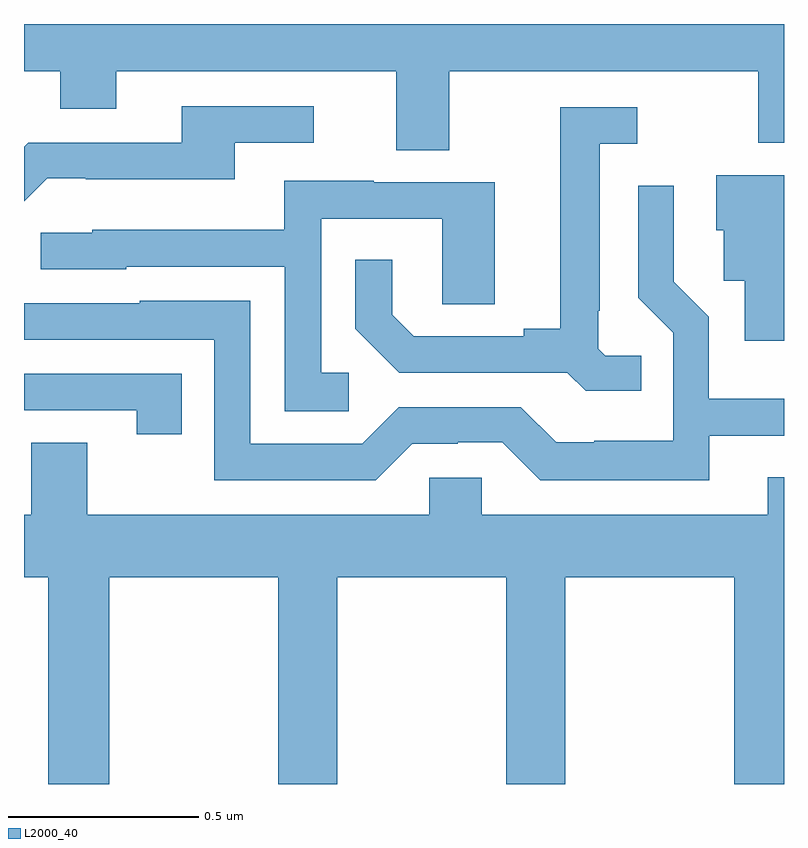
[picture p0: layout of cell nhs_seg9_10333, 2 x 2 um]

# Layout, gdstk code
import gdstk
lib = gdstk.Library(unit=1e-6, precision=1e-09)
def P(c, l, *ps):  # polygons
    for p in ps: c.add(gdstk.Polygon(p, *l))
L2000_40 = (2000, 40)

nhs_seg9_10333 = lib.new_cell('nhs_seg9_10333')
P(nhs_seg9_10333, L2000_40, [(242.119,1240.376),(242.932,1240.376),(242.932,1240.187),(243,1240.187),(243,1240.5),(241,1240.5),(241,1240.376),(241.096,1240.376),(241.096,1240.277),(241.243,1240.277),(241.243,1240.376),(241.979,1240.376),(241.979,1240.168),(242.119,1240.168)],
  [(241.061,1240.094),(241.162,1240.094),(241.162,1240.091),(241.555,1240.091),(241.555,1240.188),(241.762,1240.188),(241.762,1240.284),(241.415,1240.284),(241.415,1240.188),(241.011,1240.188),(241,1240.177),(241,1240.033)],
  [(242.624,1239.627),(242.529,1239.627),(242.511,1239.645),(242.511,1239.745),(242.515,1239.745),(242.515,1240.185),(242.614,1240.185),(242.614,1240.281),(242.411,1240.281),(242.411,1239.698),(242.315,1239.698),(242.315,1239.678),(242.026,1239.678),(241.969,1239.735),(241.969,1239.88),(241.872,1239.88),(241.872,1239.698),(241.988,1239.582),(242.43,1239.582),(242.478,1239.535),(242.624,1239.535)],
  [(243,1240.102),(242.822,1240.102),(242.822,1239.957),(242.841,1239.957),(242.841,1239.825),(242.897,1239.825),(242.897,1239.666),(243,1239.666)],
  [(241.855,1239.582),(241.782,1239.582),(241.782,1239.987),(242.1,1239.987),(242.1,1239.763),(242.239,1239.763),(242.239,1240.083),(241.921,1240.083),(241.921,1240.087),(241.685,1240.087),(241.685,1239.958),(241.179,1239.958),(241.179,1239.951),(241.044,1239.951),(241.044,1239.855),(241.269,1239.855),(241.269,1239.861),(241.686,1239.861),(241.686,1239.481),(241.855,1239.481)],
  [(242.803,1239.417),(243,1239.417),(243,1239.514),(242.802,1239.514),(242.802,1239.73),(242.71,1239.822),(242.71,1240.075),(242.616,1240.075),(242.616,1239.78),(242.709,1239.687),(242.709,1239.403),(242.5,1239.403),(242.5,1239.399),(242.4,1239.399),(242.307,1239.492),(241.986,1239.492),(241.89,1239.396),(241.596,1239.396),(241.596,1239.772),(241.305,1239.772),(241.305,1239.765),(241,1239.765),(241,1239.669),(241.5,1239.669),(241.5,1239.3),(241.926,1239.3),(242.022,1239.396),(242.142,1239.396),(242.142,1239.399),(242.259,1239.399),(242.359,1239.299),(242.803,1239.299)],
  [(241.415,1239.579),(241,1239.579),(241,1239.483),(241.297,1239.483),(241.297,1239.42),(241.415,1239.42)],
  [(241.224,1239.044),(241.669,1239.044),(241.669,1238.5),(241.824,1238.5),(241.824,1239.044),(242.269,1239.044),(242.269,1238.5),(242.424,1238.5),(242.424,1239.044),(242.869,1239.044),(242.869,1238.5),(243,1238.5),(243,1239.307),(242.957,1239.307),(242.957,1239.208),(242.205,1239.208),(242.205,1239.306),(242.067,1239.306),(242.067,1239.208),(241.167,1239.208),(241.167,1239.398),(241.019,1239.398),(241.019,1239.208),(241,1239.208),(241,1239.044),(241.064,1239.044),(241.064,1238.5),(241.224,1238.5)])

lib.write_gds('nhs_seg9_10333.gds')
